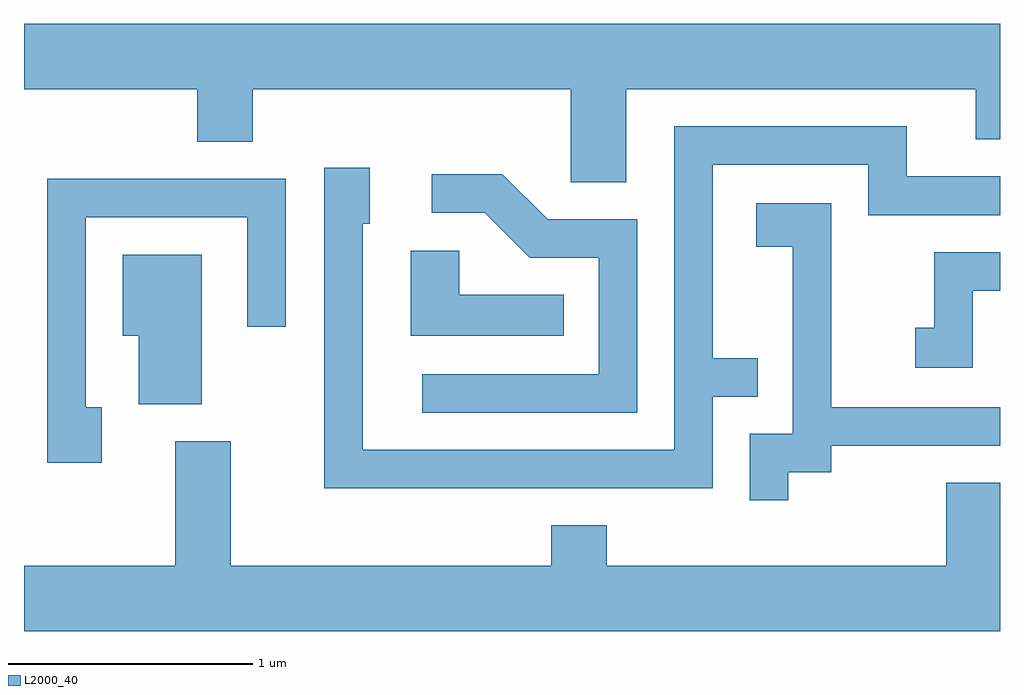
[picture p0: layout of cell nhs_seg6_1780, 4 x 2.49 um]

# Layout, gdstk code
import gdstk
lib = gdstk.Library(unit=1e-6, precision=1e-09)
def P(c, l, *ps):  # polygons
    for p in ps: c.add(gdstk.Polygon(p, *l))
L2000_40 = (2000, 40)

nhs_seg6_1780 = lib.new_cell('nhs_seg6_1780')
P(nhs_seg6_1780, L2000_40, [(242.079,1561.136),(243.511,1561.136),(243.511,1560.931),(243.611,1560.931),(243.611,1561.404),(239.611,1561.404),(239.611,1561.136),(240.321,1561.136),(240.321,1560.921),(240.549,1560.921),(240.549,1561.136),(241.851,1561.136),(241.851,1560.756),(242.079,1560.756)],
  [(242.434,1559.876),(242.618,1559.876),(242.618,1560.034),(242.434,1560.034),(242.434,1560.826),(243.071,1560.826),(243.071,1560.621),(243.611,1560.621),(243.611,1560.779),(243.229,1560.779),(243.229,1560.984),(242.276,1560.984),(242.276,1559.659),(240.999,1559.659),(240.999,1560.586),(241.029,1560.586),(241.029,1560.814),(240.841,1560.814),(240.841,1559.501),(242.434,1559.501)],
  [(242.124,1560.604),(241.757,1560.604),(241.572,1560.789),(241.283,1560.789),(241.283,1560.631),(241.499,1560.631),(241.684,1560.446),(241.966,1560.446),(241.966,1559.969),(241.243,1559.969),(241.243,1559.811),(242.124,1559.811)],
  [(239.929,1559.834),(239.864,1559.834),(239.864,1560.611),(240.526,1560.611),(240.526,1560.163),(240.684,1560.163),(240.684,1560.769),(239.706,1560.769),(239.706,1559.606),(239.929,1559.606)],
  [(242.744,1559.566),(242.919,1559.566),(242.919,1559.676),(243.611,1559.676),(243.611,1559.834),(242.919,1559.834),(242.919,1560.669),(242.611,1560.669),(242.611,1560.491),(242.761,1560.491),(242.761,1559.724),(242.586,1559.724),(242.586,1559.453),(242.744,1559.453)],
  [(241.823,1560.294),(241.394,1560.294),(241.394,1560.474),(241.196,1560.474),(241.196,1560.126),(241.823,1560.126)],
  [(243.499,1560.311),(243.611,1560.311),(243.611,1560.469),(243.341,1560.469),(243.341,1560.159),(243.263,1560.159),(243.263,1559.996),(243.499,1559.996)],
  [(240.339,1560.459),(240.016,1560.459),(240.016,1560.126),(240.081,1560.126),(240.081,1559.846),(240.339,1559.846)],
  [(243.611,1559.524),(243.391,1559.524),(243.391,1559.184),(241.999,1559.184),(241.999,1559.349),(241.771,1559.349),(241.771,1559.184),(240.459,1559.184),(240.459,1559.694),(240.231,1559.694),(240.231,1559.184),(239.611,1559.184),(239.611,1558.916),(243.611,1558.916)])

lib.write_gds('nhs_seg6_1780.gds')
